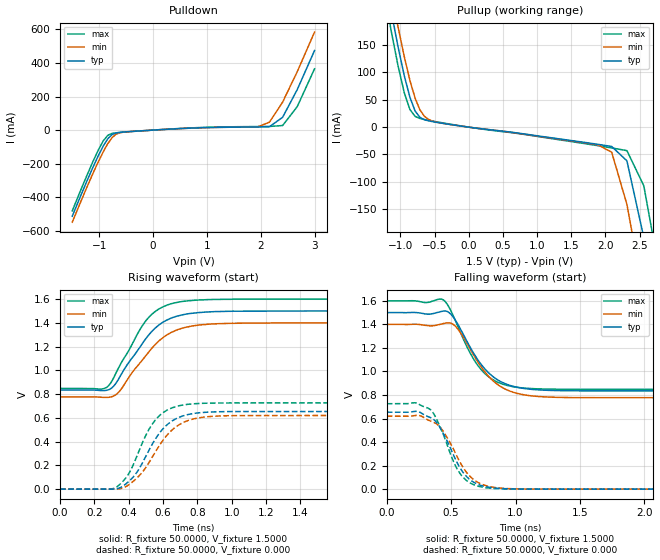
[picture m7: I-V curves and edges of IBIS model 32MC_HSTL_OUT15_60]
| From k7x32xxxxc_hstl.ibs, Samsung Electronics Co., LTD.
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|   Model 32MC_HSTL_OUT15_60
[Model]   32MC_HSTL_OUT15_60
Model_type   Output
Polarity   Non-Inverting
Enable   Active-High
Vmeas = 0.7500V
Cref =  0.000F
Rref =50.0000
Vref = 0.7500V
C_comp   0.8590pF   0.8410pF   0.8720pF
[model_spec]
Vmeas  0.7500V   0.7000V   0.8000V |VDDQ/2
[Temperature Range]   55.0000   0.1100k   0.000
[Voltage Range]   1.5000V   1.4000V   1.6000V
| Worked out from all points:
|   slope of the pulldown table from 0 to 0.225 V, typ, clamps not added: 52.5 ohm
|   slope of the pullup table from 0 to 0.225 V, typ, clamps not added: 62.9 ohm
|   rising waveform, R_fixture 50.0000, V_fixture 1.5000: 20-80 % time 207ps typ, 217ps min, 186ps max; typ from 0.835 V to 1.5 V
|   rising waveform, R_fixture 50.0000, V_fixture 0.000: 20-80 % time 168ps typ, 183ps min, 149ps max; typ from 0 V to 0.654 V
|   falling waveform, R_fixture 50.0000, V_fixture 1.5000: 20-80 % time 243ps typ, 243ps min, 222ps max; typ from 1.5 V to 0.835 V
|   falling waveform, R_fixture 50.0000, V_fixture 0.000: 20-80 % time 187ps typ, 198ps min, 169ps max; typ from 0.654 V to 0 V
[Pulldown]
| voltage   I(typ)   I(min/slow/weak)   I(max/fast/strong)
-1.5V     -513.3mA   -548.9mA   -481.3mA
-1.122V   -226.1mA   -262.5mA   -191.7mA
-925mV    -95.19mA   -129.2mA   -64.56mA
-840mV    -51.61mA   -80.51mA   -31.01mA
-692mV    -17.63mA   -25.73mA   -16.41mA
-517mV    -10.79mA   -11.32mA   -11.2mA
314mV     5.853mA    5.765mA    6.4mA
1.944V    18.5mA     19.19mA    21.17mA
2.163V    20.44mA    47.13mA    21.67mA
2.407V    76.41mA    166.7mA    27.26mA
2.678V    241mA      347.5mA    139.4mA
3V        474.2mA    584.2mA    365.3mA
[Pullup]
| voltage   I(typ)   I(min/slow/weak)   I(max/fast/strong)
-1.5V     474mA      508.9mA    440.3mA
-1.137V   212.7mA    249.5mA    176.9mA
-1.037V   148mA      184.5mA    113.1mA
-862mV    54.7mA     85.59mA    32.27mA
-786mV    29.6mA     53.03mA    19.65mA
-494mV    9.286mA    9.699mA    10.22mA
1.889V    -31.43mA   -32.44mA   -33.94mA
2.091V    -35.44mA   -45.81mA   -38.01mA
2.314V    -61.65mA   -141.5mA   -43.01mA
2.561V    -202mA     -309.9mA   -107.2mA
2.834V    -403.2mA   -517.1mA   -295.9mA
3V        -532.9mA   -647.6mA   -423.6mA
[Ramp]
| variable   typ   min(slow/weak)   max(fast/strong)
dV/dt_r   0.3922/0.1678n   0.3719/0.1831n   0.4355/0.1485n
dV/dt_f   0.3992/0.2428n   0.3742/0.2431n   0.4513/0.2216n
R_load = 50.0000
[Rising Waveform]
R_fixture = 50.0000
V_fixture = 1.5000
V_fixture_min = 1.4000
V_fixture_max = 1.6000
L_fixture = 0.000H
C_fixture = 0.000F
| time   V(typ)   V(min)   V(max)
0s        834.7mV    776.5mV    847.8mV
274ps     833.1mV    772.2mV    860.1mV
309ps     862.7mV    782.5mV    929mV
343ps     932.5mV    818.8mV    1.027V
464ps     1.193V     1.06V      1.34V
521ps     1.306V     1.162V     1.453V
605ps     1.41V      1.281V     1.538V
713ps     1.467V     1.355V     1.58V
1.072ns   1.498V     1.398V     1.599V
3.999ns   1.5V       1.4V       1.6V
[Rising Waveform]
R_fixture = 50.0000
V_fixture = 0.000
V_fixture_min = 0.000
V_fixture_max = 0.000
L_fixture = 0.000H
C_fixture = 0.000F
| time   V(typ)   V(min)   V(max)
0s        3.233uV    22.49uV    0V
329ps     3.598mV    836uV      18.42mV
389ps     50.95mV    26.22mV    106mV
434ps     116.1mV    76.03mV    230.7mV
506ps     294.2mV    196.8mV    471.2mV
559ps     430.5mV    322.4mV    588.5mV
648ps     569.3mV    491.9mV    681.6mV
741ps     626.5mV    575mV      713.4mV
1.006ns   653.1mV    618.7mV    725.7mV
3.999ns   653.7mV    619.9mV    725.9mV
[Falling Waveform]
R_fixture = 50.0000
V_fixture = 1.5000
V_fixture_min = 1.4000
V_fixture_max = 1.6000
L_fixture = 0.000H
C_fixture = 0.000F
| time   V(typ)   V(min)   V(max)
0s        1.5V       1.4V       1.6V
440ps     1.513V     1.407V     1.607V
488ps     1.496V     1.412V     1.536V
541ps     1.421V     1.375V     1.411V
637ps     1.227V     1.211V     1.178V
719ps     1.08V      1.061V     1.034V
829ps     952.7mV    917.1mV    926.7mV
974ps     875.8mV    826.1mV    871.8mV
1.417ns   836.1mV    778.3mV    848.4mV
3.999ns   834.7mV    776.4mV    847.8mV
[Falling Waveform]
R_fixture = 50.0000
V_fixture = 0.000
V_fixture_min = 0.000
V_fixture_max = 0.000
L_fixture = 0.000H
C_fixture = 0.000F
| time   V(typ)   V(min)   V(max)
0s        653.7mV    619.9mV    725.9mV
220ps     661mV      625.7mV    733.7mV
337ps     609.2mV    579.6mV    677.1mV
425ps     500.3mV    512mV      502.2mV
517ps     292.8mV    342mV      237.2mV
565ps     187.8mV    237.1mV    139.2mV
650ps     77.18mV    104.9mV    51.34mV
747ps     26.82mV    38.29mV    16.15mV
1.062ns   806.4uV    1.399mV    318uV
3.999ns   515.7nV    19.49uV    -2.09uV
